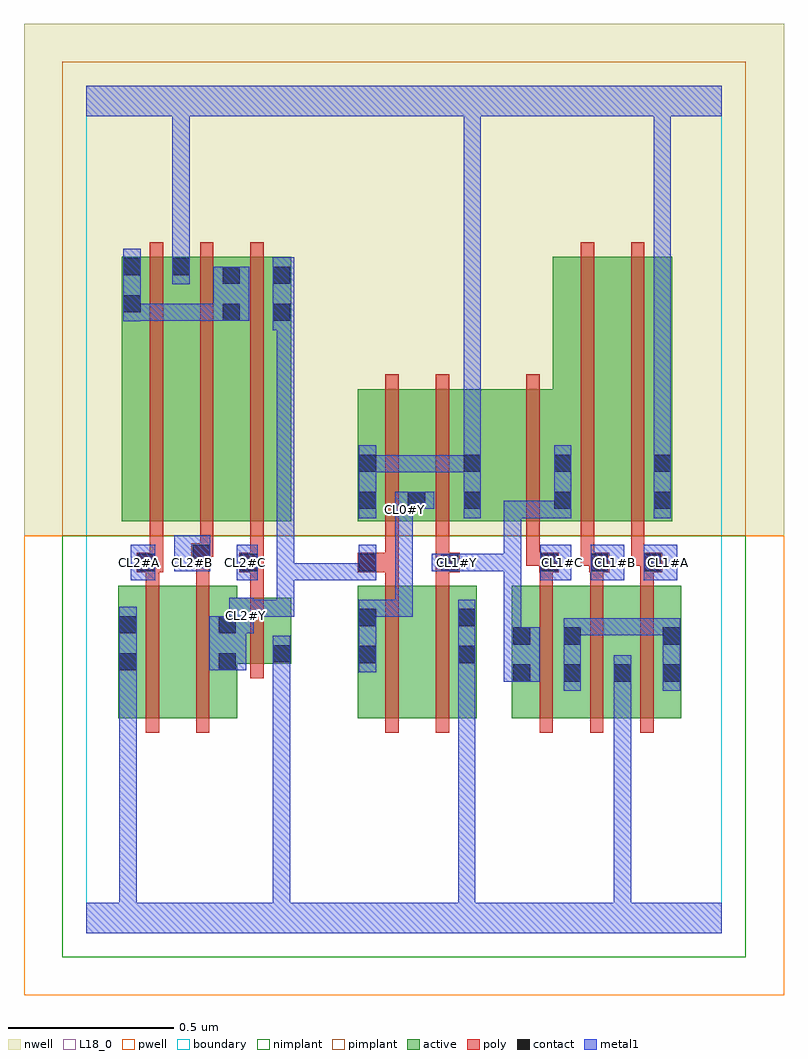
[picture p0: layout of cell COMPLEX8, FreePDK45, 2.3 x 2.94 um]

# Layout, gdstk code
import gdstk
lib = gdstk.Library(unit=1e-6, precision=1e-09)
def R(c, l, rs):  # rectangles x0, y0, x1, y1
    for r in rs: c.add(gdstk.rectangle(r[:2], r[2:], *l))
def A(c, l, x, y, w, h, nx, ny, dx, dy):  # array of equal rectangles
    R(c, l, [(x+i*dx, y+j*dy, x+i*dx+w, y+j*dy+h) for i in range(nx) for j in range(ny)])
active = (1, 0)
pwell = (2, 0)
nwell = (3, 0)
nimplant = (4, 0)
pimplant = (5, 0)
poly = (9, 0)
contact = (10, 0)
metal1 = (11, 0)
L18_0 = (18, 0)
boundary = (235, 0)

complex8 = lib.new_cell('COMPLEX8')
R(complex8, active, [(0.096,0.65,0.156,1.05), (0.096,0.65,0.276,1.05), (0.276,0.65,0.456,1.05), (0.396,0.65,0.456,1.014), (0.82,0.65,1,1.05), (1,0.65,1.18,1.05), (1.286,0.65,1.498,1.05), (1.286,0.65,1.346,1.05), (1.438,0.65,1.65,1.05), (1.59,0.65,1.798,1.05), (0.82,0.756,0.88,1.05), (1.12,0.756,1.18,1.05), (1.438,0.756,1.498,1.05), (1.59,0.756,1.65,0.816), (1.738,0.756,1.798,1.05), (0.396,0.814,0.62,1.014), (0.56,0.814,0.62,1.014), (0.108,1.244,0.168,2.044), (0.108,1.244,0.316,2.044), (0.256,1.244,0.468,2.044), (0.408,1.244,0.62,2.044), (0.56,1.244,0.62,2.044), (0.82,1.244,1.028,1.644), (0.82,1.244,0.88,1.644), (0.968,1.244,1.028,1.644), (0.968,1.244,1.196,1.644), (1.136,1.244,1.196,1.644), (1.136,1.244,1.47,1.644), (1.41,1.244,1.47,1.644), (1.41,1.244,1.59,2.044), (1.59,1.244,1.77,2.044), (1.71,1.244,1.77,2.044), (0.256,1.686,0.316,2.044), (0.408,1.686,0.468,2.044)])
R(complex8, pwell, [(-0.188,-0.188,2.108,1.2)])
R(complex8, nwell, [(-0.188,1.2,2.108,2.748)])
R(complex8, nimplant, [(-0.072,-0.072,1.992,1.2)])
R(complex8, pimplant, [(-0.072,1.2,1.992,2.632)])
A(complex8, poly, 1.37, 0.606, 0.04, 0.488, 3, 1, 0.152, 0)
A(complex8, poly, 1.37, 1.054, 0.04, 0.076, 3, 1, 0.152, 0)
A(complex8, poly, 0.192, 1.2, 0.04, 0.888, 3, 1, 0.152, 0)
R(complex8, poly, [(0.18,0.606,0.22,1.094), (0.332,0.606,0.372,1.094), (0.904,0.606,0.944,1.094), (1.056,0.606,1.096,1.094), (0.496,0.77,0.536,1.058), (0.496,1.018,0.536,1.13), (0.18,1.054,0.22,1.13), (0.332,1.054,0.372,1.158), (0.904,1.054,0.944,1.13), (1.056,1.054,1.096,1.13), (0.152,1.09,0.232,1.15), (0.18,1.09,0.22,1.13), (0.18,1.09,0.22,1.13), (0.462,1.09,0.536,1.15), (0.496,1.09,0.536,1.13), (0.496,1.09,0.536,1.13), (0.82,1.09,0.944,1.15), (1.056,1.09,1.128,1.15), (1.368,1.09,1.428,1.15), (1.52,1.09,1.58,1.15), (1.674,1.09,1.74,1.15), (0.192,1.11,0.232,1.24), (0.496,1.11,0.536,1.24), (0.904,1.11,0.944,1.24), (0.904,1.11,0.944,1.15), (0.904,1.11,0.944,1.15), (1.056,1.11,1.096,1.24), (1.056,1.11,1.096,1.15), (1.056,1.11,1.096,1.15), (1.33,1.11,1.37,1.24), (1.33,1.11,1.408,1.15), (1.368,1.11,1.408,1.15), (1.494,1.11,1.534,1.24), (1.494,1.11,1.56,1.15), (1.52,1.11,1.56,1.15), (1.646,1.11,1.686,1.24), (1.646,1.11,1.714,1.15), (1.674,1.11,1.714,1.15), (0.318,1.118,0.378,1.178), (0.338,1.138,0.378,1.178), (0.338,1.138,0.384,1.178), (0.344,1.138,0.384,1.24), (0.904,1.2,0.944,1.688), (1.056,1.2,1.096,1.688), (1.33,1.2,1.37,1.688), (1.494,1.2,1.534,2.088), (1.646,1.2,1.686,2.088)])
A(complex8, contact, 1.29, 0.76, 0.052, 0.052, 3, 1, 0.152, 0)
R(complex8, contact, [(1.742,0.76,1.794,0.812), (0.1,0.794,0.152,0.846), (0.4,0.794,0.452,0.846), (0.824,0.816,0.876,0.868), (1.124,0.816,1.176,0.868), (0.564,0.818,0.616,0.87), (1.29,0.872,1.342,0.924), (1.442,0.872,1.494,0.924), (1.742,0.872,1.794,0.924), (0.1,0.906,0.152,0.958), (0.4,0.906,0.452,0.958), (0.824,0.928,0.876,0.98), (1.124,0.928,1.176,0.98), (0.156,1.094,0.208,1.146), (0.466,1.094,0.518,1.146), (0.824,1.094,0.876,1.146), (1.072,1.094,1.124,1.146), (1.372,1.094,1.424,1.146), (1.524,1.094,1.576,1.146), (1.684,1.094,1.736,1.146), (0.322,1.122,0.374,1.174), (0.824,1.282,0.876,1.334), (0.972,1.282,1.024,1.334), (1.14,1.282,1.192,1.334), (1.414,1.282,1.466,1.334), (1.714,1.282,1.766,1.334), (0.824,1.394,0.876,1.446), (1.14,1.394,1.192,1.446), (1.414,1.394,1.466,1.446), (1.714,1.394,1.766,1.446), (0.412,1.85,0.464,1.902), (0.564,1.85,0.616,1.902), (0.112,1.876,0.164,1.928), (0.412,1.962,0.464,2.014), (0.564,1.962,0.616,2.014), (0.112,1.988,0.164,2.04), (0.26,1.988,0.312,2.04)])
R(complex8, metal1, [(0,0,1.92,0.092), (0.1,0.04,0.152,0.092), (0.1,0.04,0.152,0.092), (0.1,0.04,0.152,0.092), (0.1,0.04,0.152,0.092), (0.1,0.04,0.152,0.092), (0.1,0.04,0.152,0.092), (0.1,0.04,0.152,0.092), (0.1,0.04,0.152,0.092), (0.1,0.04,0.152,0.092), (0.1,0.04,0.152,0.092), (0.1,0.04,0.152,0.092), (0.1,0.04,0.152,0.092), (0.1,0.04,0.152,0.818), (0.564,0.04,0.616,0.092), (0.564,0.04,0.616,0.092), (0.564,0.04,0.616,0.092), (0.564,0.04,0.616,0.092), (0.564,0.04,0.616,0.092), (0.564,0.04,0.616,0.092), (0.564,0.04,0.616,0.842), (1.124,0.04,1.176,0.092), (1.124,0.04,1.176,0.092), (1.124,0.04,1.176,0.092), (1.124,0.04,1.176,0.092), (1.124,0.04,1.176,0.092), (1.124,0.04,1.176,0.092), (1.124,0.04,1.176,0.092), (1.124,0.04,1.176,0.092), (1.124,0.04,1.176,0.092), (1.124,0.04,1.176,0.092), (1.124,0.04,1.176,0.092), (1.124,0.04,1.176,0.092), (1.124,0.04,1.176,0.84), (1.594,0.04,1.646,0.092), (1.594,0.04,1.646,0.092), (1.594,0.04,1.646,0.092), (1.594,0.04,1.646,0.092), (1.594,0.04,1.646,0.092), (1.594,0.04,1.646,0.092), (1.594,0.04,1.646,0.784), (1.442,0.732,1.494,0.952), (1.594,0.732,1.646,0.784), (1.594,0.732,1.646,0.784), (1.594,0.732,1.646,0.784), (1.594,0.732,1.646,0.784), (1.594,0.732,1.646,0.784), (1.594,0.732,1.646,0.784), (1.594,0.732,1.646,0.84), (1.742,0.732,1.794,0.952), (1.262,0.76,1.37,0.924), (0.1,0.766,0.152,0.986), (0.824,0.788,0.876,1.008), (1.124,0.788,1.176,1.008), (0.564,0.79,0.616,0.842), (0.564,0.79,0.616,0.842), (0.564,0.79,0.616,0.842), (0.564,0.79,0.616,0.842), (0.564,0.79,0.616,0.842), (0.564,0.79,0.616,0.842), (0.564,0.79,0.616,0.842), (0.564,0.79,0.616,0.842), (0.564,0.79,0.616,0.842), (0.564,0.79,0.616,0.842), (0.564,0.79,0.616,0.898), (0.372,0.794,0.484,0.958), (1.262,0.872,1.314,1.146), (1.442,0.9,1.604,0.952), (1.552,0.9,1.604,0.952), (1.552,0.9,1.604,0.952), (1.552,0.9,1.604,0.952), (1.552,0.9,1.794,0.952), (1.742,0.9,1.794,0.952), (1.742,0.9,1.794,0.952), (0.432,0.906,0.484,0.958), (0.432,0.906,0.506,1.014), (0.454,0.956,0.506,1.008), (0.454,0.956,0.506,1.008), (0.454,0.956,0.628,1.008), (0.576,0.956,0.628,1.118), (0.824,0.956,0.876,1.008), (0.824,0.956,0.876,1.008), (0.824,0.956,0.986,1.008), (0.934,0.956,0.986,1.008), (0.934,0.956,0.986,1.278), (0.134,1.066,0.208,1.174), (0.454,1.066,0.518,1.174), (0.576,1.066,0.628,1.118), (0.576,1.066,0.628,1.118), (0.576,1.066,0.876,1.118), (0.576,1.066,0.628,1.874), (0.824,1.066,0.876,1.118), (0.824,1.066,0.876,1.118), (0.824,1.066,0.876,1.174), (1.372,1.066,1.466,1.174), (1.524,1.066,1.626,1.174), (1.684,1.066,1.786,1.174), (0.266,1.094,0.374,1.202), (1.044,1.094,1.174,1.146), (1.122,1.094,1.174,1.146), (1.122,1.094,1.174,1.146), (1.122,1.094,1.314,1.146), (1.262,1.094,1.314,1.146), (1.262,1.094,1.314,1.146), (1.262,1.094,1.314,1.146), (1.262,1.094,1.314,1.306), (0.934,1.226,0.986,1.334), (0.824,1.254,0.876,1.474), (1.14,1.254,1.192,1.474), (1.262,1.254,1.314,1.306), (1.262,1.254,1.466,1.306), (1.414,1.254,1.466,1.306), (1.414,1.254,1.466,1.306), (1.414,1.254,1.466,1.474), (1.714,1.254,1.766,1.474), (0.934,1.282,0.986,1.334), (0.934,1.282,0.996,1.334), (0.944,1.282,0.996,1.334), (0.944,1.282,1.052,1.334), (0.824,1.392,0.876,1.444), (0.824,1.392,0.876,1.444), (0.824,1.392,1.064,1.444), (1.012,1.392,1.064,1.444), (1.012,1.392,1.192,1.444), (1.14,1.392,1.192,1.444), (1.14,1.392,1.192,1.444), (1.14,1.422,1.192,2.52), (1.14,1.422,1.192,1.474), (1.14,1.422,1.192,1.474), (1.14,1.422,1.192,1.474), (1.14,1.422,1.192,1.474), (1.14,1.422,1.192,1.474), (1.14,1.422,1.192,1.474), (1.14,1.422,1.192,1.474), (1.14,1.422,1.192,1.474), (1.14,1.422,1.192,1.474), (1.14,1.422,1.192,1.474), (1.14,1.422,1.192,1.474), (1.14,1.422,1.192,1.474), (1.14,1.422,1.192,1.474), (1.14,1.422,1.192,1.474), (1.714,1.422,1.766,2.52), (1.714,1.422,1.766,1.474), (1.714,1.422,1.766,1.474), (1.714,1.422,1.766,1.474), (1.714,1.422,1.766,1.474), (1.714,1.422,1.766,1.474), (1.714,1.422,1.766,1.474), (0.564,1.822,0.628,2.042), (0.112,1.848,0.164,2.068), (0.112,1.85,0.164,1.902), (0.112,1.85,0.164,1.902), (0.112,1.85,0.274,1.902), (0.222,1.85,0.274,1.902), (0.222,1.85,0.274,1.902), (0.222,1.85,0.274,1.902), (0.222,1.85,0.436,1.902), (0.384,1.85,0.492,2.014), (0.26,1.96,0.312,2.068), (0.26,2.016,0.312,2.52), (0,2.468,1.92,2.56), (0.26,2.468,0.312,2.52), (0.26,2.468,0.312,2.52), (0.26,2.468,0.312,2.52), (0.26,2.468,0.312,2.52), (0.26,2.468,0.312,2.52), (0.26,2.468,0.312,2.52), (0.26,2.468,0.312,2.52), (0.26,2.468,0.312,2.52), (1.14,2.468,1.192,2.52), (1.14,2.468,1.192,2.52), (1.714,2.468,1.766,2.52), (1.714,2.468,1.766,2.52)])
A(complex8, L18_0, 0.134, 1.094, 0.052, 0.052, 3, 1, 0.16, 0)
A(complex8, L18_0, 1.414, 1.094, 0.052, 0.052, 3, 1, 0.16, 0)
R(complex8, L18_0, [(0,0,1.92,0.092), (0.1,0.04,0.152,0.092), (0.1,0.04,0.152,0.092), (0.1,0.04,0.152,0.092), (0.1,0.04,0.152,0.092), (0.1,0.04,0.152,0.092), (0.1,0.04,0.152,0.092), (0.1,0.04,0.152,0.092), (0.1,0.04,0.152,0.092), (0.1,0.04,0.152,0.092), (0.1,0.04,0.152,0.092), (0.1,0.04,0.152,0.092), (0.1,0.04,0.152,0.092), (0.1,0.04,0.152,0.818), (0.564,0.04,0.616,0.092), (0.564,0.04,0.616,0.092), (0.564,0.04,0.616,0.092), (0.564,0.04,0.616,0.092), (0.564,0.04,0.616,0.092), (0.564,0.04,0.616,0.092), (0.564,0.04,0.616,0.842), (1.124,0.04,1.176,0.092), (1.124,0.04,1.176,0.092), (1.124,0.04,1.176,0.092), (1.124,0.04,1.176,0.092), (1.124,0.04,1.176,0.092), (1.124,0.04,1.176,0.092), (1.124,0.04,1.176,0.092), (1.124,0.04,1.176,0.092), (1.124,0.04,1.176,0.092), (1.124,0.04,1.176,0.092), (1.124,0.04,1.176,0.092), (1.124,0.04,1.176,0.092), (1.124,0.04,1.176,0.84), (1.594,0.04,1.646,0.092), (1.594,0.04,1.646,0.092), (1.594,0.04,1.646,0.092), (1.594,0.04,1.646,0.092), (1.594,0.04,1.646,0.092), (1.594,0.04,1.646,0.092), (1.594,0.04,1.646,0.784), (1.594,0.732,1.646,0.784), (1.594,0.732,1.646,0.784), (1.594,0.732,1.646,0.784), (1.594,0.732,1.646,0.784), (1.594,0.732,1.646,0.784), (1.594,0.732,1.646,0.784), (1.594,0.732,1.646,0.84), (1.262,0.76,1.37,0.924), (0.1,0.766,0.152,0.986), (0.824,0.788,0.876,1.008), (1.124,0.788,1.176,1.008), (0.564,0.79,0.616,0.842), (0.564,0.79,0.616,0.842), (0.564,0.79,0.616,0.842), (0.564,0.79,0.616,0.842), (0.564,0.79,0.616,0.842), (0.564,0.79,0.616,0.842), (0.564,0.79,0.616,0.842), (0.564,0.79,0.616,0.842), (0.564,0.79,0.616,0.842), (0.564,0.79,0.616,0.842), (0.564,0.79,0.616,0.898), (0.372,0.794,0.484,0.958), (1.262,0.872,1.314,1.146), (0.432,0.906,0.484,0.958), (0.432,0.906,0.506,1.014), (0.454,0.934,0.506,0.986), (0.454,0.956,0.506,1.008), (0.454,0.956,0.506,1.008), (0.454,0.956,0.628,1.008), (0.576,0.956,0.628,1.118), (0.824,0.956,0.876,1.008), (0.824,0.956,0.876,1.008), (0.824,0.956,0.986,1.008), (0.934,0.956,0.986,1.008), (0.934,0.956,0.986,1.278), (0.134,1.066,0.208,1.174), (0.454,1.066,0.518,1.174), (0.576,1.066,0.628,1.118), (0.576,1.066,0.628,1.118), (0.576,1.066,0.628,1.874), (0.576,1.066,0.876,1.118), (0.824,1.066,0.876,1.118), (0.824,1.066,0.876,1.118), (0.824,1.066,0.876,1.174), (1.372,1.066,1.466,1.174), (1.524,1.066,1.626,1.174), (1.684,1.066,1.786,1.174), (0.266,1.094,0.374,1.202), (1.044,1.094,1.174,1.146), (1.094,1.094,1.146,1.146), (1.122,1.094,1.174,1.146), (1.122,1.094,1.174,1.146), (1.122,1.094,1.314,1.146), (1.262,1.094,1.314,1.146), (1.262,1.094,1.314,1.146), (1.262,1.094,1.314,1.146), (1.262,1.094,1.314,1.306), (0.934,1.226,0.986,1.334), (0.824,1.254,0.876,1.474), (0.934,1.254,0.986,1.306), (1.14,1.254,1.192,1.474), (1.262,1.254,1.314,1.306), (1.262,1.254,1.466,1.306), (1.414,1.254,1.466,1.306), (1.414,1.254,1.466,1.306), (1.414,1.254,1.466,1.474), (1.714,1.254,1.766,1.474), (0.934,1.282,0.986,1.334), (0.934,1.282,0.996,1.334), (0.944,1.282,0.996,1.334), (0.944,1.282,1.052,1.334), (0.824,1.392,0.876,1.444), (0.824,1.392,0.876,1.444), (0.824,1.392,1.064,1.444), (1.012,1.392,1.064,1.444), (1.012,1.392,1.192,1.444), (1.14,1.392,1.192,1.444), (1.14,1.392,1.192,1.444), (1.14,1.422,1.192,1.474), (1.14,1.422,1.192,1.474), (1.14,1.422,1.192,1.474), (1.14,1.422,1.192,1.474), (1.14,1.422,1.192,1.474), (1.14,1.422,1.192,1.474), (1.14,1.422,1.192,1.474), (1.14,1.422,1.192,1.474), (1.14,1.422,1.192,1.474), (1.14,1.422,1.192,1.474), (1.14,1.422,1.192,1.474), (1.14,1.422,1.192,1.474), (1.14,1.422,1.192,1.474), (1.14,1.422,1.192,1.474), (1.14,1.422,1.192,2.52), (1.714,1.422,1.766,1.474), (1.714,1.422,1.766,1.474), (1.714,1.422,1.766,1.474), (1.714,1.422,1.766,1.474), (1.714,1.422,1.766,1.474), (1.714,1.422,1.766,1.474), (1.714,1.422,1.766,2.52), (0.564,1.822,0.628,2.042), (0.26,1.96,0.312,2.068), (0.26,2.016,0.312,2.52), (0,2.468,1.92,2.56), (0.26,2.468,0.312,2.52), (0.26,2.468,0.312,2.52), (0.26,2.468,0.312,2.52), (0.26,2.468,0.312,2.52), (0.26,2.468,0.312,2.52), (0.26,2.468,0.312,2.52), (0.26,2.468,0.312,2.52), (0.26,2.468,0.312,2.52), (1.14,2.468,1.192,2.52), (1.14,2.468,1.192,2.52), (1.714,2.468,1.766,2.52), (1.714,2.468,1.766,2.52)])
R(complex8, boundary, [(0,0,1.92,2.56)])
complex8.add(gdstk.Label('CL0#Y', (0.96,1.28), layer=11, texttype=0))
complex8.add(gdstk.Label('CL1#A', (1.76,1.12), layer=11, texttype=0))
complex8.add(gdstk.Label('CL1#B', (1.6,1.12), layer=11, texttype=0))
complex8.add(gdstk.Label('CL1#C', (1.44,1.12), layer=11, texttype=0))
complex8.add(gdstk.Label('CL1#Y', (1.12,1.12), layer=11, texttype=0))
complex8.add(gdstk.Label('CL2#A', (0.16,1.12), layer=11, texttype=0))
complex8.add(gdstk.Label('CL2#B', (0.32,1.12), layer=11, texttype=0))
complex8.add(gdstk.Label('CL2#C', (0.48,1.12), layer=11, texttype=0))
complex8.add(gdstk.Label('CL2#Y', (0.48,0.96), layer=11, texttype=0))

lib.write_gds('COMPLEX8.gds')
